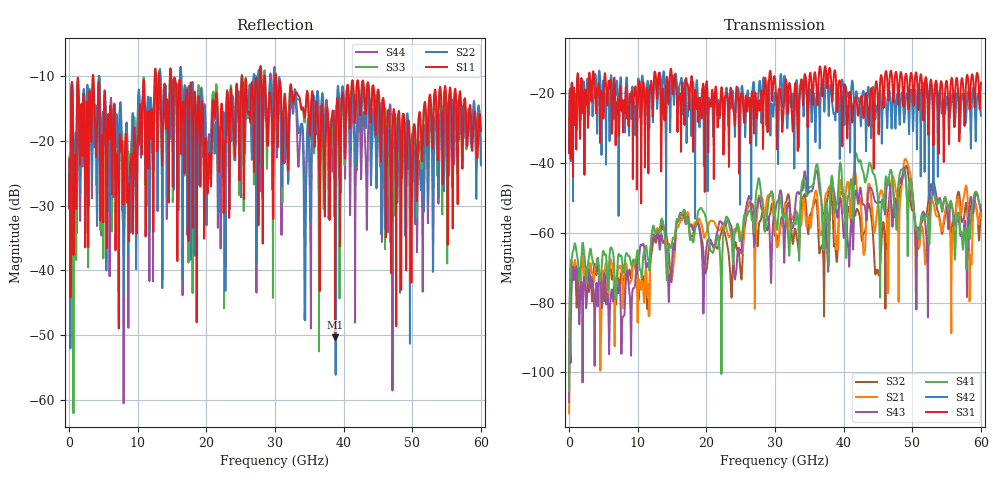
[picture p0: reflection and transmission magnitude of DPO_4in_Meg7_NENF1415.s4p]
! Tyco Electronics Strada Whisper System
! NEXT_F1415_G1112
!! SYSTEM DESCRIPTION: Daughtercard-Footprint-Connector-Footprint-Daughtercard
!! PCB DESCRIPTION: DC: 140mil, Megtron7N, upper layer route, 15mil stub, 6-6-6mil 4" traces
!! CONNECTOR DESCRIPTION: Next-Gen STRADA Whisper Direct-Plug Orthogonal Connector
!! MODEL DESCRIPTION: Tyco Electronics System 4-port S-parameter
!! MODEL STATUS: Developmental
!! MODEL GEOMETRY: Channel Model
!! MODEL FREQUENCY RANGE: DC to 60 GHz in 10 MHz frequency steps
!! MODEL EDGE RATE LIMITATION: 8.3 ps (Using conservative 0.5/Fmax rule of thumb)
!! TIME-DOMAIN TRANSFORM CAUTIONS:
!! 1.) Do not simulate transient edge rates faster than the number listed above.  Edge rates faster than this number
!!  contain significant spectral content at frequencies above the model's highest frequency.
!! 2.) Even when simulating edge rates that are slower than the number listed above, be aware that the best time
!!  resolution possible with a direct iFFT is (1 / 2Fmax).  As a result, time resolution is typically not adequate
!!  for most time-domain simulations unless tricks such as windowing are used to minimize leakage and aliasing.
!! 3.) Because the model has a uniform frequency step, a direct iFFT will result in an impulse that that has a time
!!  length given by either (1 / Fstep) or (1 / 2Fstep), depending on the transform being used.  Care has been taken
!!  in selecting the frequency step to ensure a settled impulse response for the model.  Therefore, convolution with
!!  the model's impulse response should present no issues.  However, if directly concatenating s-parameter models
!!  in the frequency domain a user must either interpolate necessary interim frequencies or complete impulse response
!!  zero-padding.  Impulse response zero-padding is more difficult, but more accurate.
!! PORT DEFINITIONS:
!! Port  1  ----->  RX Side	F14  G11  RX Side  <-----  Port  3
!! Port  2  ----->  RX Side	F15  G12  RX Side  <-----  Port  4
! Touchstone data
! Created: 10-Dec-2018 by IdEM R2012 (8.0.5)
# Hz S MA R 50
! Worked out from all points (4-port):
!   6000 points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, 10 MHz to 60 GHz, reference 50 ohm
!   strongest paths, dB at 10 MHz, 15.01 GHz, 30.01 GHz, 45.01 GHz, 60 GHz:
!     S31: -37.1, -16.4, -16.0, -23.8, -17.0
!     S42: -37.1, -14.9, -19.8, -24.7, -26.5
!     S41: -105.3, -62.9, -55.2, -50.2, -52.1
!     S43: -108.5, -67.8, -54.6, -51.5, -53.4
!     S21: -111.7, -73.0, -58.9, -51.8, -52.4
!     S32: -100.0, -72.1, -60.8, -71.3, -53.9
!   lowest |S11| = -50.3 dB at 38.75 GHz (marker M1), VSWR 1.01, Z = 49.7 + j0.0608 ohm
!   |S11| at or under -10 dB: 3.53 GHz to 12.48 GHz (8.954 GHz wide, 112 % of centre); 14.89 GHz to 25.19 GHz (10.3 GHz wide, 51.4 % of centre); 30.13 GHz to end of sweep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
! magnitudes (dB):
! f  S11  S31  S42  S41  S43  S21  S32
! 10 MHz  -30.4  -37.1  -37.1  -105.3  -108.5  -111.7  -100.0
! 38.75 GHz  -50.3  -13.5  -27.1  -54.0  -50.3  -58.8  -63.5
! 43.71 GHz  -12.3  -28.0  -19.6  -40.2  -47.3  -45.9  -51.8
! 44.96 GHz  -12.6  -20.7  -24.2  -49.2  -51.5  -52.5  -70.8
! 49.04 GHz  -25.6  -14.6  -22.0  -44.0  -44.0  -38.9  -40.9
! 50.73 GHz  -26.2  -16.9  -28.7  -59.0  -61.9  -61.4  -63.4
! 60 GHz  -18.5  -17.0  -26.5  -52.1  -53.4  -52.4  -53.9
